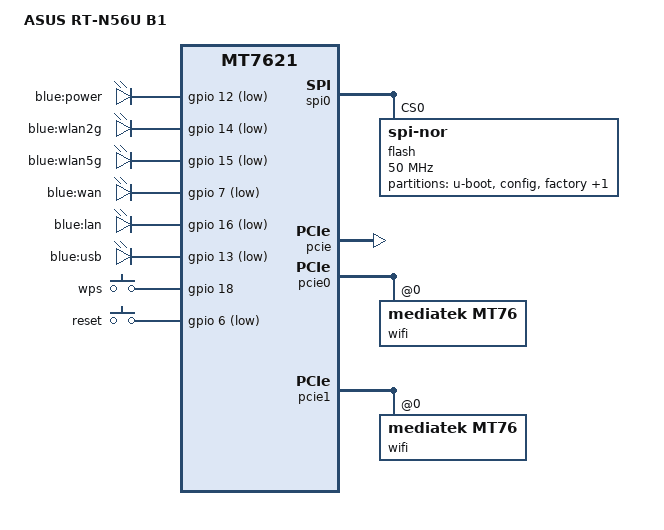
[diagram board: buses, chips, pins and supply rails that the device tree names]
// SPDX-License-Identifier: GPL-2.0-or-later OR MIT

#include "mt7621.dtsi"

#include <dt-bindings/gpio/gpio.h>
#include <dt-bindings/input/input.h>

/ {
	compatible = "asus,rt-n56u-b1", "mediatek,mt7621-soc";
	model = "ASUS RT-N56U B1";

	aliases {
		label-mac-device = &wan;
		led-boot = &led_power;
		led-failsafe = &led_power;
		led-running = &led_power;
		led-upgrade = &led_power;
	};

	chosen {
		bootargs = "console=ttyS0,115200";
	};

	leds {
		compatible = "gpio-leds";

		led_power: power {
			label = "blue:power";
			gpios = <&gpio 12 GPIO_ACTIVE_LOW>;
		};

		wlan2g {
			label = "blue:wlan2g";
			gpios = <&gpio 14 GPIO_ACTIVE_LOW>;
			linux,default-trigger = "phy0tpt";
		};

		wlan5g {
			label = "blue:wlan5g";
			gpios = <&gpio 15 GPIO_ACTIVE_LOW>;
			linux,default-trigger = "phy1tpt";
		};

		wan {
			label = "blue:wan";
			gpios = <&gpio 7 GPIO_ACTIVE_LOW>;
		};

		lan {
			label = "blue:lan";
			gpios = <&gpio 16 GPIO_ACTIVE_LOW>;
		};

		usb {
			label = "blue:usb";
			gpios = <&gpio 13 GPIO_ACTIVE_LOW>;
			trigger-sources = <&xhci_ehci_port1>, <&ehci_port2>;
			linux,default-trigger = "usbport";
		};
	};

	keys {
		compatible = "gpio-keys";

		wps {
			label = "wps";
			gpios = <&gpio 18 GPIO_ACTIVE_HIGH>;
			linux,code = <KEY_WPS_BUTTON>;
			debounce-interval = <60>;
		};

		reset {
			label = "reset";
			gpios = <&gpio 6 GPIO_ACTIVE_LOW>;
			linux,code = <KEY_RESTART>;
			debounce-interval = <60>;
		};
	};
};

&spi0 {
	status = "okay";

	flash@0 {
		compatible = "jedec,spi-nor";
		reg = <0>;
		spi-max-frequency = <50000000>;
		m25p,fast-read;

		partitions {
			compatible = "fixed-partitions";
			#address-cells = <1>;
			#size-cells = <1>;

			partition@0 {
				label = "u-boot";
				reg = <0x0 0x30000>;
				read-only;
			};

			partition@30000 {
				label = "config";
				reg = <0x30000 0x10000>;
				read-only;
			};

			factory: partition@40000 {
				label = "factory";
				reg = <0x40000 0x10000>;
				read-only;
			};

			partition@50000 {
				compatible = "denx,uimage";
				label = "firmware";
				reg = <0x50000 0xfb0000>;
			};
		};
	};
};

&pcie {
	status = "okay";
};

&pcie0 {
	wifi@0,0 {
		compatible = "mediatek,mt76";
		reg = <0x0000 0 0 0 0>;
		mediatek,mtd-eeprom = <&factory 0x8000>;
	};
};

&pcie1 {
	wifi@0,0 {
		compatible = "mediatek,mt76";
		reg = <0x0000 0 0 0 0>;
		mediatek,mtd-eeprom = <&factory 0x0000>;
	};
};

&gmac0 {
	mtd-mac-address = <&factory 0x8004>;
};

&switch0 {
	ports {
		port@0 {
			status = "okay";
			label = "lan4";
		};

		port@1 {
			status = "okay";
			label = "lan3";
		};

		port@2 {
			status = "okay";
			label = "lan2";
		};

		port@3 {
			status = "okay";
			label = "lan1";
		};

		wan: port@4 {
			status = "okay";
			label = "wan";
			mtd-mac-address = <&factory 0x4>;
		};
	};
};

&state_default {
	gpio {
		groups = "uart3", "uart2", "jtag", "wdt";
		function = "gpio";
	};
};
